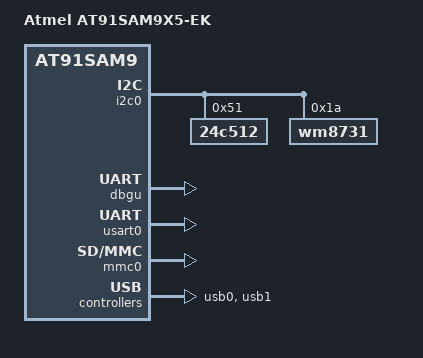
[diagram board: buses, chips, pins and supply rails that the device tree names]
/*
 * at91sam9x5ek.dtsi - Device Tree file for AT91SAM9x5CM Base board
 *
 *  Copyright (C) 2012 Atmel,
 *                2012 Nicolas Ferre <nicolas.ferre@atmel.com>
 *
 * Licensed under GPLv2 or later.
 */
/include/ "at91sam9x5cm.dtsi"

/ {
	model = "Atmel AT91SAM9X5-EK";
	compatible = "atmel,at91sam9x5ek", "atmel,at91sam9x5", "atmel,at91sam9";

	chosen {
		bootargs = "console=ttyS0,115200 root=/dev/mtdblock1 rw rootfstype=ubifs ubi.mtd=1 root=ubi0:rootfs";
	};

	ahb {
		apb {
			adc0: adc@f804c000 {
				pinctrl-0 = <
					&pinctrl_adc0_adtrg
					&pinctrl_adc0_ad4
					&pinctrl_adc0_ad5
					&pinctrl_adc0_ad6
					&pinctrl_adc0_ad9
				>;
				atmel,adc-channels-used = <0x0270>;
				atmel,adc-vref = <3300>;
			};

			i2c0: i2c@f8010000 {
				24c512@51 {
					compatible = "24c512";
					reg = <0x51>;
					pagesize = <128>;
				};
			};

			isi: isi@f8048000 {
				pinctrl-names = "default";
				pinctrl-0 = <&pinctrl_isi &pinctrl_isi_pck_as_mck &pinctrl_isi_power &pinctrl_isi_reset>;
			};

			pinctrl@fffff400 {
				board {
					pinctrl_mmc0_cd: mmc0_cd {
						atmel,pins =
							<3 15 0x0 0x5>;	/* PD15 gpio with pullup deglitch */
					};

					pinctrl_mmc1_cd: mmc1_cd {
						atmel,pins =
							<3 14 0x0 0x5>;	/* PD14 gpio with pullup deglitch */
					};

					pinctrl_isi_reset: isi_reset-0 {
						atmel,pins =
							<0 7 0x0 0x0>;   /* PA7 gpio, conflicted with TXD2, SPI0_NPCS1 */
					};

					pinctrl_isi_power: isi_power-0 {
						atmel,pins =
							<0 13 0x0 0x0>; /* PA13 gpio, conflicted with SPI0_SPCK, MCI1_CK */
					};
				};
			};

			dbgu: serial@fffff200 {
				status = "okay";
			};

			usart0: serial@f801c000 {
				status = "okay";
			};

			mmc0: mmc@f0008000 {
				pinctrl-0 = <&pinctrl_mmc0_clk_cmd_dat0 &pinctrl_mmc0_dat1_3 &pinctrl_mmc0_cd>;
				status = "okay";
				slot@0 {
					reg = <0>;
					bus-width = <4>;
					cd-gpios = <&pioD 15 0>;
				};
			};

			mmc1: mmc@f000c000 {
				pinctrl-0 = <&pinctrl_mmc1_clk_cmd_dat0 &pinctrl_mmc1_dat1_3 &pinctrl_mmc1_cd>;
				slot@0 {
					reg = <0>;
					bus-width = <4>;
					cd-gpios = <&pioD 14 0>;
				};
			};

			ssc0: ssc@f0010000 {
				status = "okay";
			};

			macb0: ethernet@f802c000 {
				phy-mode = "rmii";
			};

			macb1: ethernet@f8030000 {
				phy-mode = "rmii";
			};

			i2c0: i2c@f8010000 {
				status = "okay";

				wm8731: wm8731@1a {
					compatible = "wm8731";
					reg = <0x1a>;
				};
			};
		};

		usb0: ohci@00600000 {
			status = "okay";
			num-ports = <3>;
			atmel,vbus-gpio = <0 /* &pioD 18 1 *//* Activate to have access to port A */
					   &pioD 19 1
					   &pioD 20 1
					  >;
		};

		usb1: ehci@00700000 {
			status = "okay";
		};
	};

	sound {
		compatible = "atmel,sam9x5-wm8731-audio";

		atmel,model = "wm8731 @ AT91SAM9X5EK";

		atmel,audio-routing =
			"Headphone Jack", "RHPOUT",
			"Headphone Jack", "LHPOUT",
			"LLINEIN", "Line In Jack",
			"RLINEIN", "Line In Jack";

		atmel,ssc-controller = <&ssc0>;
		atmel,audio-codec = <&wm8731>;
	};
};
